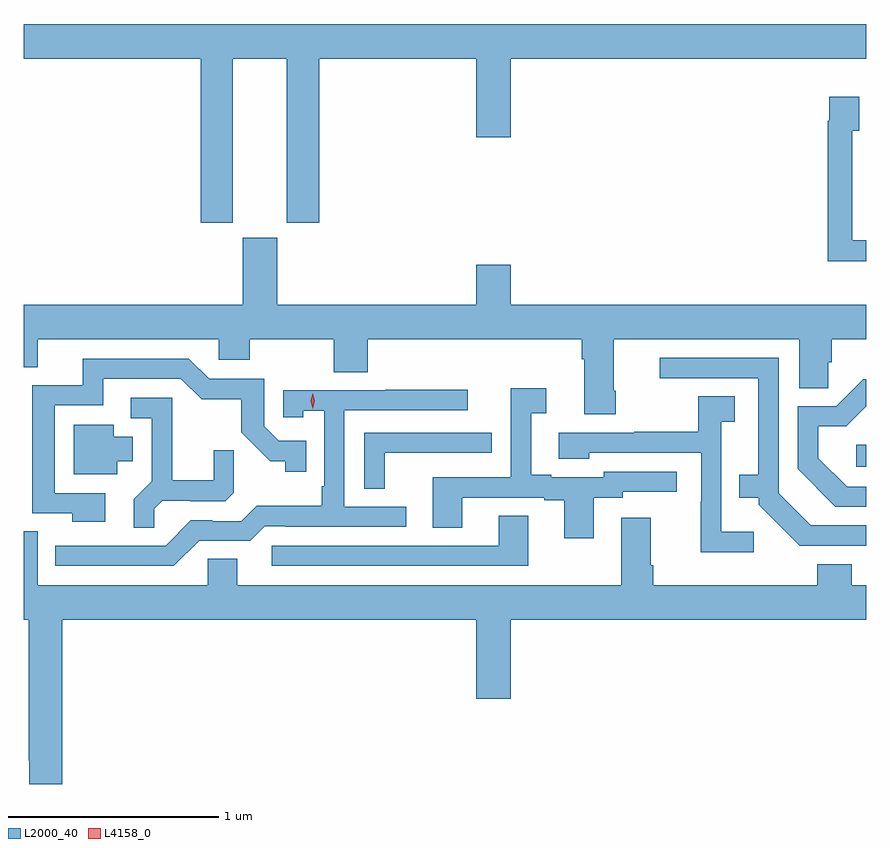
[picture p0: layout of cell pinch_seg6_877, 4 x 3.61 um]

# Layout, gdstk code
import gdstk
lib = gdstk.Library(unit=1e-6, precision=1e-09)
def R(c, l, rs):  # rectangles x0, y0, x1, y1
    for r in rs: c.add(gdstk.rectangle(r[:2], r[2:], *l))
def P(c, l, *ps):  # polygons
    for p in ps: c.add(gdstk.Polygon(p, *l))
L2000_40 = (2000, 40)
L4158_0 = (4158, 0)

pinch_seg6_877 = lib.new_cell('pinch_seg6_877')
R(pinch_seg6_877, L2000_40, [(202.776,954.723,202.823,954.826)])
P(pinch_seg6_877, L2000_40, [(199.816,956.66),(200.072,956.66),(200.072,955.881),(200.225,955.881),(200.225,956.66),(200.972,956.66),(200.972,956.286),(201.136,956.286),(201.136,956.66),(202.823,956.66),(202.823,956.824),(198.823,956.824),(198.823,956.66),(199.664,956.66),(199.664,955.881),(199.816,955.881)],
  [(202.823,955.797),(202.755,955.797),(202.755,956.318),(202.789,956.318),(202.789,956.479),(202.647,956.479),(202.647,956.366),(202.639,956.366),(202.639,955.697),(202.823,955.697)],
  [(201.633,955.084),(201.625,955.084),(201.625,955.328),(202.505,955.328),(202.505,955.096),(202.643,955.096),(202.643,955.218),(202.658,955.218),(202.658,955.328),(202.823,955.328),(202.823,955.492),(201.136,955.492),(201.136,955.681),(200.972,955.681),(200.972,955.492),(200.026,955.492),(200.026,955.809),(199.862,955.809),(199.862,955.492),(198.823,955.492),(198.823,955.195),(198.889,955.195),(198.889,955.328),(199.749,955.328),(199.749,955.23),(199.896,955.23),(199.896,955.328),(200.296,955.328),(200.296,955.171),(200.456,955.171),(200.456,955.328),(201.473,955.328),(201.473,955.232),(201.485,955.232),(201.485,954.972),(201.633,954.972)],
  [(202.823,954.444),(202.56,954.444),(202.407,954.597),(202.407,955.239),(201.843,955.239),(201.843,955.143),(202.31,955.143),(202.31,954.685),(202.219,954.685),(202.219,954.575),(202.311,954.575),(202.311,954.543),(202.506,954.348),(202.823,954.348)],
  [(199.21,954.597),(198.972,954.597),(198.972,955.014),(199.201,955.014),(199.201,955.14),(199.569,955.14),(199.668,955.042),(199.857,955.042),(199.857,954.886),(199.994,954.749),(200.064,954.749),(200.064,954.699),(200.165,954.699),(200.165,954.846),(200.034,954.846),(199.965,954.915),(199.965,955.14),(199.704,955.14),(199.608,955.236),(199.103,955.236),(199.103,955.11),(198.864,955.11),(198.864,954.501),(199.054,954.501),(199.054,954.461),(199.21,954.461)],
  [(202.823,954.627),(202.731,954.627),(202.594,954.764),(202.594,954.914),(202.727,954.914),(202.823,955.01),(202.823,955.139),(202.808,955.139),(202.68,955.011),(202.497,955.011),(202.497,954.713),(202.676,954.534),(202.823,954.534)],
  [(201.529,954.576),(201.666,954.576),(201.666,954.603),(201.922,954.603),(201.922,954.699),(201.576,954.699),(201.576,954.672),(201.328,954.672),(201.328,954.685),(201.232,954.685),(201.232,954.976),(201.304,954.976),(201.304,955.096),(201.135,955.096),(201.135,954.672),(200.765,954.672),(200.765,954.433),(200.905,954.433),(200.905,954.576),(201.293,954.576),(201.293,954.564),(201.389,954.564),(201.389,954.384),(201.529,954.384)],
  [(199.656,954.372),(199.899,954.372),(199.968,954.441),(200.068,954.441),(200.068,954.438),(200.638,954.438),(200.638,954.534),(200.346,954.534),(200.346,954.99),(200.932,954.99),(200.932,955.089),(200.539,955.089),(200.539,955.086),(200.055,955.086),(200.055,954.957),(200.151,954.957),(200.151,954.989),(200.25,954.989),(200.25,954.631),(200.238,954.631),(200.238,954.538),(199.93,954.538),(199.857,954.465),(199.718,954.465),(199.718,954.468),(199.617,954.468),(199.497,954.348),(198.974,954.348),(198.974,954.252),(199.536,954.252)],
  [(202.288,954.415),(202.134,954.415),(202.134,954.937),(202.198,954.937),(202.198,955.058),(202.026,955.058),(202.026,954.888),(201.721,954.888),(201.721,954.885),(201.363,954.885),(201.363,954.761),(201.507,954.761),(201.507,954.789),(202.038,954.789),(202.038,954.557),(202.036,954.557),(202.036,954.317),(202.288,954.317)],
  [(199.443,954.524),(199.48,954.561),(199.614,954.561),(199.614,954.558),(199.779,954.558),(199.82,954.599),(199.82,954.801),(199.726,954.801),(199.726,954.658),(199.529,954.658),(199.529,955.05),(199.332,955.05),(199.332,954.954),(199.431,954.954),(199.431,954.655),(199.345,954.569),(199.345,954.433),(199.443,954.433)],
  [(199.267,954.749),(199.342,954.749),(199.342,954.865),(199.252,954.865),(199.252,954.922),(199.061,954.922),(199.061,954.686),(199.267,954.686)],
  [(200.538,954.789),(200.933,954.789),(200.933,954.79),(201.046,954.79),(201.046,954.885),(200.439,954.885),(200.439,954.619),(200.538,954.619)],
  [(201.217,954.491),(201.077,954.491),(201.077,954.348),(200.001,954.348),(200.001,954.252),(201.217,954.252)],
  [(199.007,953.996),(200.972,953.996),(200.972,953.622),(201.136,953.622),(201.136,953.996),(202.823,953.996),(202.823,954.16),(202.754,954.16),(202.754,954.259),(202.589,954.259),(202.589,954.16),(201.812,954.16),(201.812,954.256),(201.799,954.256),(201.799,954.481),(201.659,954.481),(201.659,954.16),(199.837,954.16),(199.837,954.287),(199.698,954.287),(199.698,954.16),(198.889,954.16),(198.889,954.416),(198.823,954.416),(198.823,953.996),(198.847,953.996),(198.847,953.329),(198.851,953.329),(198.851,953.217),(199.007,953.217)])
P(pinch_seg6_877, L4158_0, [(200.196,954.999),(200.196,954.999),(200.186,955.035),(200.196,955.07),(200.196,955.071),(200.196,955.07),(200.206,955.035),(200.196,954.999)])

lib.write_gds('pinch_seg6_877.gds')
